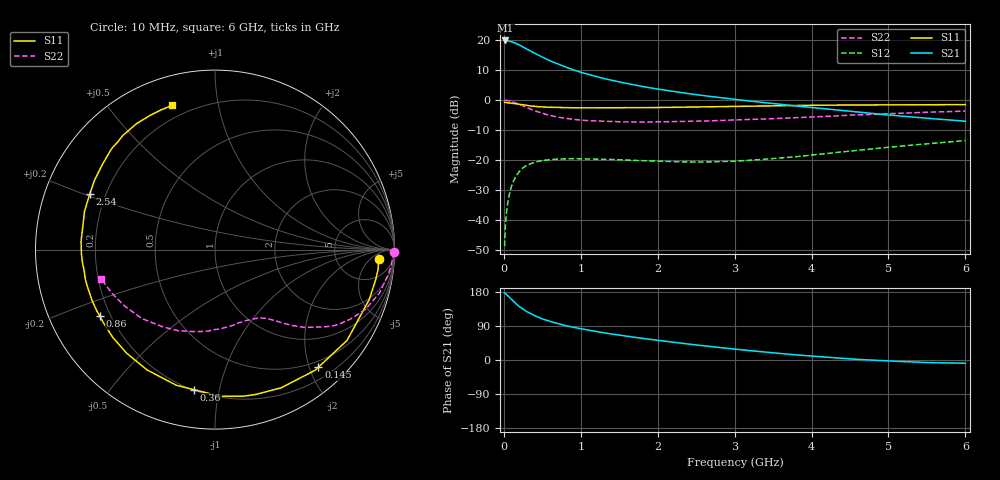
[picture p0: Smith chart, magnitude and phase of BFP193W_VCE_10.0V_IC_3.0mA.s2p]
! Infineon Technologies  Discrete & RF Semiconductors
! BFP193W
! VCE = 10.0V,  IC =  3.0 mA
! Common Emitter S-Parameters:  Jan 2016
# GHz  S  MA  R  50
!  f  S11  S21  S12  S22
! GHz  MAG  ANG  MAG  ANG  MAG  ANG  MAG  ANG
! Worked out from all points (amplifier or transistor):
!   210 points, 10 MHz to 6 GHz, reference 50 ohm
!   highest |S21| = 19.9 dB at 20 MHz (marker M1)
!   |S21| within 3 dB of that: start of sweep to 307.9 MHz
!   unconditionally stable (mu >= 1): 1.983 GHz to 4.865 GHz
!   at 185 MHz: K = 0.11, MSG = 21.5 dB, |S12| = -24.5 dB
!   at 1.52 GHz: K = 0.76, MSG = 13.0 dB, |S12| = -20.0 dB
!   at 6 GHz: K = 0.95, MSG = 3.2 dB, |S12| = -13.5 dB
!   S11 on the Smith chart (normalised r, x): 10 MHz: 15, -10; 145 MHz: 0.39, -2.15; 360 MHz: 0.20, -0.84; 860 MHz: 0.16, -0.26; 2.54 GHz: 0.14, +0.21; 6 GHz: 0.14, +0.74
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0.01  0.9133 -3.4  9.877 176.9  0.0036 84.9  0.9966 -0.8
0.02  0.9151 -7.0  9.916 175.7  0.0077 83.4  0.9893 -3.3
0.05  0.9034 -17.8  9.808 169.5  0.0188 79.9  0.9774 -7.8
0.095  0.8905 -32.8  9.47 160.4  0.0343 71.3  0.9496 -14.2
0.145  0.8724 -48.7  9.009 150.7  0.0498 63.5  0.9058 -21.0
0.2  0.8538 -64.4  8.345 141.3  0.0634 55.7  0.8489 -27.1
0.24  0.8382 -74.5  7.854 135.6  0.0717 50.5  0.8079 -30.9
0.3  0.817 -88.1  7.11 127.4  0.0811 44.2  0.7452 -35.3
0.36  0.7892 -98.6  6.457 121.5  0.0869 38.9  0.6946 -38.5
0.4  0.7861 -105.9  6.066 116.9  0.0912 35.8  0.6622 -40.9
0.5  0.7699 -119.5  5.211 108.4  0.0976 29.9  0.6004 -44.7
0.6  0.7584 -130.5  4.534 101.7  0.1008 25.4  0.5533 -47.6
0.7  0.7509 -139.2  4.017 96.0  0.103 22.1  0.5184 -49.6
0.86  0.7413 -150.1  3.352 88.3  0.1044 18.2  0.4831 -52.9
1.02  0.7406 -158.5  2.865 81.8  0.1042 15.4  0.4599 -56.0
1.4  0.742 -174.1  2.142 68.6  0.1016 12.2  0.4373 -63.5
2.02  0.7502 167.8  1.513 51.3  0.0949 14.2  0.4336 -76.8
2.54  0.7634 156.0  1.211 38.9  0.092 20.3  0.4444 -88.9
3.1  0.7821 144.7  0.993 26.9  0.0965 28.8  0.4669 -102.1
4.1  0.8181 127.5  0.729 8.9  0.124 39.9  0.5264 -127.1
5.1  0.8309 114.9  0.548 -3.5  0.1668 41.5  0.5984 -149.9
6  0.8388 106.5  0.443 -8.6  0.2102 38.5  0.6542 -165.6
